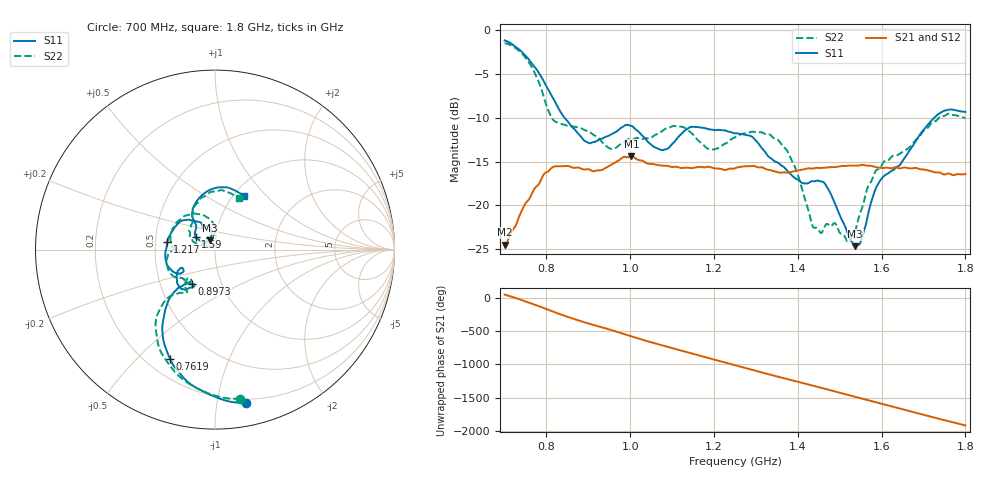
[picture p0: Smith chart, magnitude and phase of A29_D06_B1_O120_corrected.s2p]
! Created with skrf 1.9.0 (http://scikit-rf.org).
# Hz S RI R 50.0
!freq ReS11 ImS11 ReS21 ImS21 ReS12 ImS12 ReS22 ImS22
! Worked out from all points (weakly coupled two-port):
!   1601 points, 700 MHz to 1.8 GHz, reference 50 ohm
!   highest |S21| = -14.41 dB at 1.002 GHz (marker M1); lowest = -24.5 dB at 700 MHz (marker M2)
!   lowest |S11| = -24.6 dB at 1.537 GHz (marker M3), VSWR 1.12, Z = 47.1 + j4.91 ohm
!   |S11| at or under -10 dB: 843 MHz to 1.726 GHz (882.6 MHz wide, 68.7 % of centre)
!   |S22| runs from -24.2 to -1.5 dB; largest |S21 - S12| = 0.0035
!   S11 on the Smith chart (normalised r, x): 700 MHz: 0.17, -1.21; 761.9 MHz: 0.29, -0.63; 897.3 MHz: 0.72, -0.29; 1.217 GHz: 0.58, +0.06; 1.59 GHz: 0.80, +0.12; 1.8 GHz: 1.12, +0.76
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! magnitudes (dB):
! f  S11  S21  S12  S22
! 700 MHz  -1.2  -24.5  -24.2  -1.5
! 761.9 MHz  -3.6  -19.0  -18.9  -4.0
! 815.5 MHz  -7.8  -15.6  -15.7  -10.2
! 883.6 MHz  -12.2  -15.8  -15.7  -11.2
! 897.3 MHz  -12.8  -15.9  -15.9  -11.5
! 953.7 MHz  -11.9  -15.4  -15.4  -13.5
! 1.002 GHz  -10.9  -14.4  -14.5  -12.5
! 1.067 GHz  -13.5  -15.4  -15.4  -11.8
! 1.144 GHz  -11.1  -15.7  -15.7  -11.7
! 1.217 GHz  -11.4  -15.8  -15.8  -13.2
! 1.25 GHz  -11.8  -15.8  -15.7  -12.2
! 1.356 GHz  -15.3  -16.3  -16.2  -12.7
! 1.394 GHz  -16.9  -16.1  -16.1  -15.8
! 1.434 GHz  -17.2  -15.8  -15.8  -22.1
! 1.467 GHz  -17.7  -15.7  -15.7  -22.2
! 1.52 GHz  -23.3  -15.5  -15.5  -24.2
! 1.537 GHz  -24.6  -15.4  -15.5  -23.0
! 1.551 GHz  -24.0  -15.4  -15.4  -20.6
! 1.59 GHz  -17.7  -15.7  -15.6  -15.9
! 1.617 GHz  -16.3  -15.7  -15.7  -14.8
! 1.733 GHz  -9.7  -16.2  -16.3  -10.2
! 1.8 GHz  -9.3  -16.4  -16.4  -10.0
